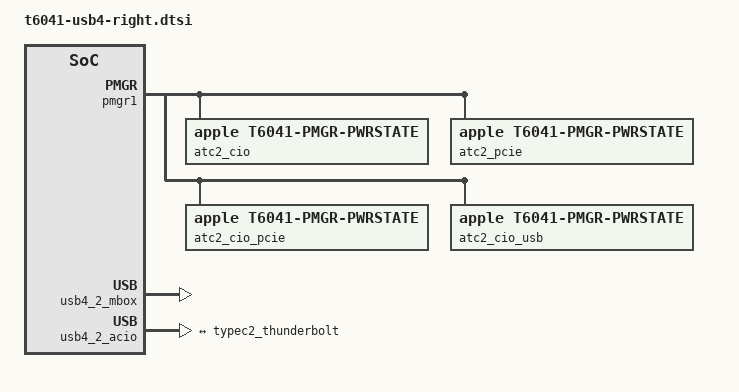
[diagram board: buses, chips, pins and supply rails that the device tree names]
// SPDX-License-Identifier: GPL-2.0+ OR MIT
/* EXPERIMENTAL: right-hand J616c USB4v2 router, native ADT resources. */
#include "t6041-usbc-dp.dtsi"

&pmgr1 {
	ps_atc2_cio: power-controller@3e8 {
		compatible = "apple,t6041-pmgr-pwrstate", "apple,t8103-pmgr-pwrstate";
		reg = <0x3e8 4>;
		#power-domain-cells = <0>;
		#reset-cells = <0>;
		label = "atc2_cio";
		power-domains = <&pmp_report_atc2>;
	};
	ps_atc2_pcie: power-controller@3f0 {
		compatible = "apple,t6041-pmgr-pwrstate", "apple,t8103-pmgr-pwrstate";
		reg = <0x3f0 4>;
		#power-domain-cells = <0>;
		#reset-cells = <0>;
		label = "atc2_pcie";
		power-domains = <&pmp_report_atc2>;
	};
	ps_atc2_cio_pcie: power-controller@3f8 {
		compatible = "apple,t6041-pmgr-pwrstate", "apple,t8103-pmgr-pwrstate";
		reg = <0x3f8 4>;
		#power-domain-cells = <0>;
		#reset-cells = <0>;
		label = "atc2_cio_pcie";
		power-domains = <&ps_atc2_cio>;
	};
	ps_atc2_cio_usb: power-controller@400 {
		compatible = "apple,t6041-pmgr-pwrstate", "apple,t8103-pmgr-pwrstate";
		reg = <0x400 4>;
		#power-domain-cells = <0>;
		#reset-cells = <0>;
		label = "atc2_cio_usb";
		power-domains = <&ps_atc2_cio>;
	};
};

&{/aliases} {
	usb4_2_rc = &usb4_2_acio;
	usb4_2_nhi = &usb4_2_nhi;
};

&{/soc} {
	usb4_2_mbox: mailbox@391108000 {
		compatible = "apple,t6041-asc-mailbox", "apple,asc-mailbox-v4";
		reg = <3 0x91108000 0 0x4000>;
		interrupt-parent = <&aic>;
		interrupts = <AIC_IRQ 954 IRQ_TYPE_LEVEL_HIGH>,
			     <AIC_IRQ 955 IRQ_TYPE_LEVEL_HIGH>,
			     <AIC_IRQ 956 IRQ_TYPE_LEVEL_HIGH>,
			     <AIC_IRQ 957 IRQ_TYPE_LEVEL_HIGH>;
		interrupt-names = "send-empty", "send-not-empty",
				  "recv-empty", "recv-not-empty";
		#mbox-cells = <0>;
	};
	usb4_2_acio: cio@391ac0000 {
		compatible = "apple,t6041-usb4-acio", "apple,t8103-usb4-acio";
		reg = <3 0x91ac0000 0 0xc000>, <3 0x91080000 0 0x20000>;
		reg-names = "rc", "sram";
		mboxes = <&usb4_2_mbox>;
		resets = <&cio_reset 2>;
		power-domains = <&ps_atc2_cio>, <&ps_atc2_cio_pcie>,
				<&ps_atc2_cio_usb>, <&ps_atc2_pcie>;
		pinctrl-0 = <&acio2_pins>;
		pinctrl-names = "default";
		thunderbolt-switch;
		#address-cells = <2>;
		#size-cells = <2>;
		ranges;
		nonposted-mmio;

		usb4_2_dart: iommu@391a80000 {
			compatible = "apple,t6041-dart", "apple,t8110-dart";
			reg = <3 0x91a80000 0 0xc000>;
			interrupt-parent = <&aic>;
			interrupts = <AIC_IRQ 1885 IRQ_TYPE_LEVEL_HIGH>;
			#iommu-cells = <1>;
			apple,dma-range = /bits/ 64 <0x10000000000 0x30000000000>;
		};
		usb4_2_nhi: nhi@391f00000 {
			compatible = "apple,t6041-usb4-nhi", "apple,t6040-usb4-nhi", "apple,t8103-usb4-nhi";
			/* CIO v2 has no separate PDF register aperture. */
			reg = <3 0x91f00000 0 0x100000>;
			reg-names = "nhi";
			interrupt-parent = <&aic>;
			interrupts = <AIC_IRQ 1858 IRQ_TYPE_LEVEL_HIGH>,
				<AIC_IRQ 1859 IRQ_TYPE_LEVEL_HIGH>,
				<AIC_IRQ 1860 IRQ_TYPE_LEVEL_HIGH>,
				<AIC_IRQ 1861 IRQ_TYPE_LEVEL_HIGH>,
				<AIC_IRQ 1862 IRQ_TYPE_LEVEL_HIGH>,
				<AIC_IRQ 1863 IRQ_TYPE_LEVEL_HIGH>,
				<AIC_IRQ 1864 IRQ_TYPE_LEVEL_HIGH>,
				<AIC_IRQ 1865 IRQ_TYPE_LEVEL_HIGH>,
				<AIC_IRQ 1866 IRQ_TYPE_LEVEL_HIGH>,
				<AIC_IRQ 1867 IRQ_TYPE_LEVEL_HIGH>,
				<AIC_IRQ 1868 IRQ_TYPE_LEVEL_HIGH>,
				<AIC_IRQ 1869 IRQ_TYPE_LEVEL_HIGH>,
				<AIC_IRQ 1870 IRQ_TYPE_LEVEL_HIGH>,
				<AIC_IRQ 1871 IRQ_TYPE_LEVEL_HIGH>,
				<AIC_IRQ 1872 IRQ_TYPE_LEVEL_HIGH>,
				<AIC_IRQ 1873 IRQ_TYPE_LEVEL_HIGH>,
				<AIC_IRQ 1874 IRQ_TYPE_LEVEL_HIGH>,
				<AIC_IRQ 1875 IRQ_TYPE_LEVEL_HIGH>,
				<AIC_IRQ 1876 IRQ_TYPE_LEVEL_HIGH>,
				<AIC_IRQ 1877 IRQ_TYPE_LEVEL_HIGH>,
				<AIC_IRQ 1878 IRQ_TYPE_LEVEL_HIGH>,
				<AIC_IRQ 1879 IRQ_TYPE_LEVEL_HIGH>,
				<AIC_IRQ 1880 IRQ_TYPE_LEVEL_HIGH>,
				<AIC_IRQ 1881 IRQ_TYPE_LEVEL_HIGH>;
			interrupt-names = "txring0",
				"txring1",
				"txring2",
				"txring3",
				"txring4",
				"txring5",
				"txring6",
				"txring7",
				"txring8",
				"txring9",
				"txring10",
				"txring11",
				"rxring0",
				"rxring1",
				"rxring2",
				"rxring3",
				"rxring4",
				"rxring5",
				"rxring6",
				"rxring7",
				"rxring8",
				"rxring9",
				"rxring10",
				"rxring11";
			iommus = <&usb4_2_dart 0>,
				<&usb4_2_dart 1>,
				<&usb4_2_dart 2>,
				<&usb4_2_dart 3>,
				<&usb4_2_dart 4>,
				<&usb4_2_dart 5>,
				<&usb4_2_dart 6>,
				<&usb4_2_dart 7>,
				<&usb4_2_dart 8>,
				<&usb4_2_dart 9>,
				<&usb4_2_dart 10>,
				<&usb4_2_dart 11>,
				<&usb4_2_dart 16>,
				<&usb4_2_dart 17>,
				<&usb4_2_dart 18>,
				<&usb4_2_dart 19>,
				<&usb4_2_dart 20>,
				<&usb4_2_dart 21>,
				<&usb4_2_dart 22>,
				<&usb4_2_dart 23>,
				<&usb4_2_dart 24>,
				<&usb4_2_dart 25>,
				<&usb4_2_dart 26>,
				<&usb4_2_dart 27>;
			apple,thunderbolt-drom = [00];
		};
	};
};

&pinctrl_aop {
	acio2_pins: acio2-pins {
		pinmux = <APPLE_PINMUX(53, 1)>;
	};
};

&typec2 {
	ports {
		port@2 {
			reg = <2>;
			typec2_thunderbolt: endpoint {
				remote-endpoint = <&usb4_2_typec>;
			};
		};
	};
};

&usb4_2_acio {
	ports {
		#address-cells = <1>;
		#size-cells = <0>;
		port@1 {
			reg = <1>;
			usb4_2_typec: endpoint {
				remote-endpoint = <&typec2_thunderbolt>;
			};
		};
	};
};
